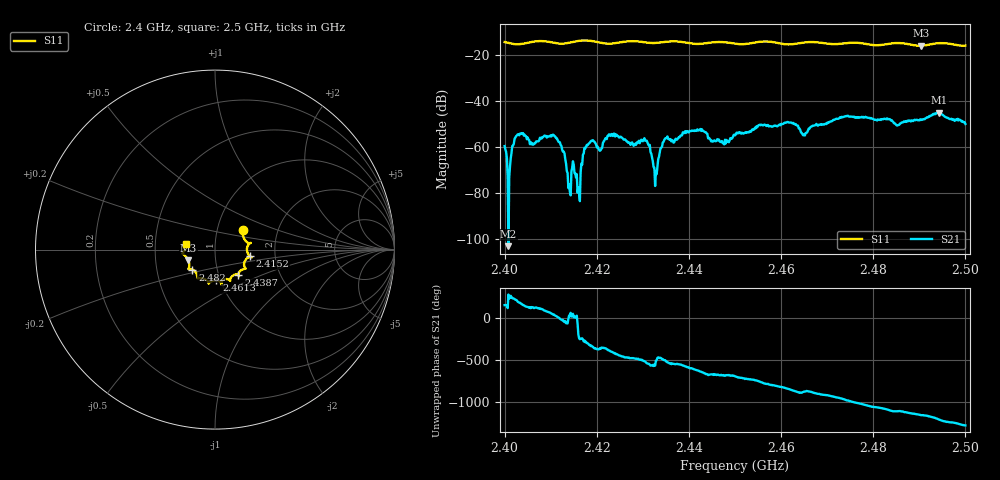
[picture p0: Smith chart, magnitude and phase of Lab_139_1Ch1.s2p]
# Hz S RI R
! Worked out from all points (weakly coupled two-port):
!   601 points, 2.4 GHz to 2.5 GHz, reference 50 ohm
!   highest |S21| = -45.07 dB at 2.4943 GHz (marker M1); lowest = -103.2 dB at 2.4008 GHz (marker M2)
!   lowest |S11| = -15.9 dB at 2.4903 GHz (marker M3), VSWR 1.38, Z = 36.8 - j4.45 ohm
!   |S11| at or under -10 dB: start of sweep to end of sweep
!   S12 and S22 are empty: the file has one direction only
!   S11 on the Smith chart (normalised r, x): 2.4 GHz: 1.33, +0.31; 2.4152 GHz: 1.47, -0.12; 2.4387 GHz: 1.24, -0.36; 2.4613 GHz: 0.96, -0.34; 2.482 GHz: 0.76, -0.17; 2.5 GHz: 0.72, +0.05
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2.4e9  0.1575 0.1116  -0.00098 0.000372  0 0  0 0
2.400833e9  0.1553 0.0997  1.85e-06 -6.69e-06  0 0  0 0
2.4035e9  0.1659 0.0547  -0.00198 7.92e-05  0 0  0 0
2.410833e9  0.1832 0.0223  0.00136 0.00106  0 0  0 0
2.413833e9  0.1835 -0.0223  0.000127 -1.25e-05  0 0  0 0
2.415167e9  0.1936 -0.0375  0.000243 0.00012  0 0  0 0
2.415833e9  0.1989 -0.0413  5.49e-05 -8.54e-05  0 0  0 0
2.416667e9  0.2035 -0.0437  -0.000195 0.000396  0 0  0 0
2.417833e9  0.2044 -0.0424  0.000451 0.00102  0 0  0 0
2.423167e9  0.1627 -0.0741  0.00154 -0.00116  0 0  0 0
2.4305e9  0.1542 -0.1106  -0.00124 -0.000585  0 0  0 0
2.433333e9  0.1324 -0.1319  -0.000134 -0.000524  0 0  0 0
2.434833e9  0.1308 -0.144  -0.00115 -0.00102  0 0  0 0
2.438667e9  0.1301 -0.1416  -0.00193 0.000796  0 0  0 0
2.45e9  0.0688 -0.1648  0.00156 0.000877  0 0  0 0
2.461333e9  0.00799 -0.1711  -0.00161 -0.00312  0 0  0 0
2.466667e9  -0.0349 -0.1903  -0.00262 -0.000996  0 0  0 0
2.482e9  -0.126 -0.1113  0.00402 0.000502  0 0  0 0
2.483333e9  -0.1395 -0.1084  0.00399 -0.000833  0 0  0 0
2.490333e9  -0.1491 -0.0589  0.000988 -0.00373  0 0  0 0
2.494333e9  -0.1817 -0.0212  -0.00345 -0.00438  0 0  0 0
2.5e9  -0.1588 0.0324  -0.00304 0.000979  0 0  0 0
